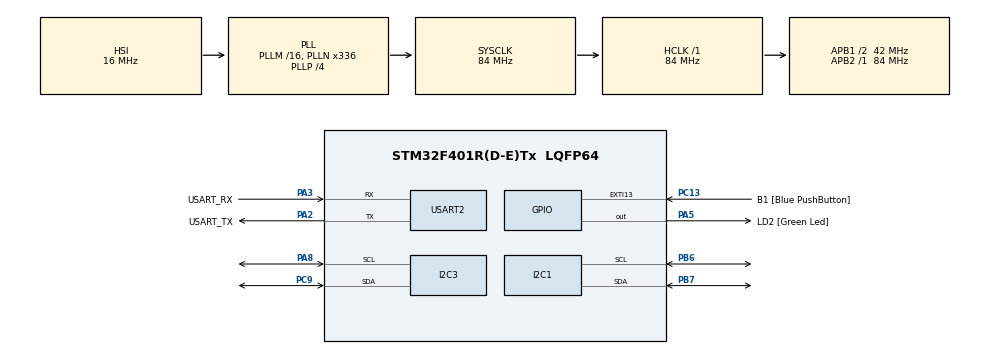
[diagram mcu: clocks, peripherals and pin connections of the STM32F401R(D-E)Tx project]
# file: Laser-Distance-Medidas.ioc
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Mcu.Family=STM32F4
Mcu.Name=STM32F401R(D-E)Tx
Mcu.Package=LQFP64
NVIC.PriorityGroup=NVIC_PRIORITYGROUP_0
PA13.GPIO_Label=TMS
PA13.Mode=Serial_Wire
PA13.Signal=SYS_JTMS-SWDIO
PA14.GPIO_Label=TCK
PA14.Mode=Serial_Wire
PA14.Signal=SYS_JTCK-SWCLK
PA2.GPIO_Label=USART_TX
PA2.GPIO_Mode=GPIO_MODE_AF_PP
PA2.GPIO_PuPd=GPIO_NOPULL
PA2.GPIO_Speed=GPIO_SPEED_FREQ_LOW
PA2.Mode=Asynchronous
PA2.Signal=USART2_TX
PA3.GPIO_Label=USART_RX
PA3.GPIO_Mode=GPIO_MODE_AF_PP
PA3.GPIO_PuPd=GPIO_NOPULL
PA3.GPIO_Speed=GPIO_SPEED_FREQ_LOW
PA3.Mode=Asynchronous
PA3.Signal=USART2_RX
PA5.GPIO_Label=LD2 [Green Led]
PA5.GPIO_Mode=GPIO_MODE_OUTPUT_PP
PA5.GPIO_PuPd=GPIO_NOPULL
PA5.GPIO_Speed=GPIO_SPEED_FREQ_LOW
PA5.Signal=GPIO_Output
PA8.Mode=I2C
PA8.Signal=I2C3_SCL
PB3.GPIO_Label=SWO
PB3.Signal=SYS_JTDO-SWO
PB6.Mode=I2C
PB6.Signal=I2C1_SCL
PB7.Mode=I2C
PB7.Signal=I2C1_SDA
PC13-ANTI_TAMP.GPIO_Label=B1 [Blue PushButton]
PC13-ANTI_TAMP.GPIO_ModeDefaultEXTI=GPIO_MODE_IT_FALLING
PC13-ANTI_TAMP.GPIO_PuPd=GPIO_NOPULL
PC13-ANTI_TAMP.Signal=GPXTI13
PC14-OSC32_IN.Mode=LSE-External-Oscillator
PC14-OSC32_IN.Signal=RCC_OSC32_IN
PC15-OSC32_OUT.Mode=LSE-External-Oscillator
PC15-OSC32_OUT.Signal=RCC_OSC32_OUT
PC9.Mode=I2C
PC9.Signal=I2C3_SDA
PH0\ -\ OSC_IN.Mode=HSE-External-Clock-Source
PH0\ -\ OSC_IN.Signal=RCC_OSC_IN
PH1\ -\ OSC_OUT.Mode=HSE-External-Clock-Source
PH1\ -\ OSC_OUT.Signal=RCC_OSC_OUT
ProjectManager.HeapSize=0x200
ProjectManager.StackSize=0x400
ProjectManager.TargetToolchain=STM32CubeIDE
RCC.48MHZClocksFreq_Value=48000000
RCC.AHBFreq_Value=84000000
RCC.APB1CLKDivider=RCC_HCLK_DIV2
RCC.APB1Freq_Value=42000000
RCC.APB1TimFreq_Value=84000000
RCC.APB2Freq_Value=84000000
RCC.APB2TimFreq_Value=84000000
RCC.CortexFreq_Value=84000000
RCC.HCLKFreq_Value=84000000
RCC.HSE_VALUE=8000000
RCC.HSI_VALUE=16000000
RCC.PLLN=336
RCC.PLLP=RCC_PLLP_DIV4
RCC.PLLQ=7
RCC.SYSCLKFreq_VALUE=84000000
RCC.SYSCLKSource=RCC_SYSCLKSOURCE_PLLCLK
RCC.VCOOutputFreq_Value=336000000
USART2.VirtualMode=VM_ASYNC
board=NUCLEO-F401RE

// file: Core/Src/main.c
/* USER CODE BEGIN Header */
/**
  ******************************************************************************
  * @file           : main.c
  * @brief          : Main program body
  ******************************************************************************
  * @attention
  *
  * Copyright (c) 2023 STMicroelectronics.
  * All rights reserved.
  *
  * This software is licensed under terms that can be found in the LICENSE file
  * in the root directory of this software component.
  * If no LICENSE file comes with this software, it is provided AS-IS.
  *
  ******************************************************************************
  */
/* USER CODE END Header */
#include "main.h"

/* USER CODE BEGIN Includes */
#include "uart.h"
#include "lidarvl53.h"
#include "ssd1306.h"
#include "ssd1306_tests.h"
/* USER CODE END Includes */

I2C_HandleTypeDef hi2c1;
I2C_HandleTypeDef hi2c3;

UART_HandleTypeDef huart2;

/* USER CODE BEGIN PV */
float milimetros;
float medicion;
float milimetrosCalib;
float valor_calibracion_100mm = 0.00;
float valor_calibracion_1900mm = 0.00;
float factorCalibracion = 1.00;
float y1 = 100.00;
float y2 = 1900.00;
float A=1.00;
float B=0.00;
int boton_presionado = 0;
float distancia;
char texto[100];
char texto2[100];
char texto3[100];
#define MAX_MUESTRAS 25
/* USER CODE END PV */

void SystemClock_Config(void);
static void MX_GPIO_Init(void);
static void MX_USART2_UART_Init(void);
static void MX_I2C1_Init(void);
static void MX_I2C3_Init(void);

int main(void)
{
  /* USER CODE BEGIN 1 */
unsigned int acumulador = 0;
unsigned int contador = 0;
unsigned int milimetros_promedio = 0;
uint8_t y;

  /* USER CODE END 1 */

  /* MCU Configuration--------------------------------------------------------*/

  /* Reset of all peripherals, Initializes the Flash interface and the Systick. */
  HAL_Init();

  /* Configure the system clock */
  SystemClock_Config();

  /* Initialize all configured peripherals */
  MX_GPIO_Init();
  MX_USART2_UART_Init();
  MX_I2C1_Init();
  MX_I2C3_Init();
  /* USER CODE BEGIN 2 */

  lidar_init(dir_s1);
  ssd1306_Init();
  /* USER CODE END 2 */

  /* Infinite loop */
  /* USER CODE BEGIN WHILE */
  while (1)
  {
	  chequeoPulsador();

	   	milimetros=lidar_lee_mm(dir_s1);
	   	milimetrosCalib = milimetros * A + B;
	   	acumulador += milimetrosCalib;
	   	contador++;

	   	// Cada 20 muestras, calcular el promedio y reiniciar el acumulador y contador
	   	        if (contador == MAX_MUESTRAS) {
	   	            milimetros_promedio = acumulador / MAX_MUESTRAS;

	   	            	   	            // Reiniciar el acumulador y el contador
	   	            acumulador = 0;
	   	            contador = 0;
	   	        }

		        if (distancia<0)  uartx_write_text(&huart2, "SENSOR NO CONECTADO\r\n");
		        else
		        {
		      	  sprintf(texto,"%u mm\r\n",milimetros_promedio);
		            uartx_write_text(&huart2, texto);

		        }

		        HAL_Delay(10);

		        ssd1306_Reset();

		        y = 0;
		        ssd1306_Fill(Black);

		        #ifdef SSD1306_INCLUDE_FONT_16x26
		    	ssd1306_SetCursor(2, y);
		    	ssd1306_WriteString(&texto, Font_16x26, White);
		    	y += 26;
		    	#endif

		    	ssd1306_UpdateScreen();

    /* USER CODE END WHILE */

  }
}

void chequeoPulsador(void){
	// Verificar si el botón B1 está presionado
	if (HAL_GPIO_ReadPin(GPIOC, GPIO_PIN_13) == GPIO_PIN_RESET) {
	// El botón está presionado, leer el valor del sensor
	    HAL_Delay(100);  // Debounce del botón
	    if (HAL_GPIO_ReadPin(GPIOC, GPIO_PIN_13) == GPIO_PIN_RESET) {
	    // Seguro que el botón sigue presionado
	       boton_presionado = 1;

	       calibracion_100mm();

	       calibracion_1900mm();

	       Factor_Calibracion(valor_calibracion_100mm,valor_calibracion_1900mm,y1,y2,&A,&B);

	       sprintf(texto2,"Factor: %u mm \n",factorCalibracion);
		                  //uartx_write_text(&huart2, texto2);
	       HAL_UART_Transmit(&huart2, (uint8_t*)texto2, strlen(texto2), HAL_MAX_DELAY);

	       ssd1306_Reset();

	       uint8_t y = 0;
	       ssd1306_Fill(Black);

		#ifdef SSD1306_INCLUDE_FONT_16x26
	       ssd1306_SetCursor(2, y);
	       ssd1306_WriteString(&texto2, Font_16x26, White);
	       y += 26;
		#endif

	       ssd1306_UpdateScreen();

	    }
	} else {
		// El botón no está presionado
		boton_presionado = 0;

	}

}
void calibracion_100mm(void) {

	unsigned int acumulador = 0;
	unsigned int contador = 0;
	unsigned int milimetros_promedio = 0;

	sprintf(texto2,"C 100 mm OK");
	//uartx_write_text(&huart2, texto2);
	HAL_UART_Transmit(&huart2, (uint8_t*)texto2, strlen(texto2), HAL_MAX_DELAY);

	ssd1306_Reset();

	uint8_t y = 0;
	ssd1306_Fill(Black);

	#ifdef SSD1306_INCLUDE_FONT_11x18
	ssd1306_SetCursor(2, y);
	ssd1306_WriteString(&texto2, Font_11x18, White);
	y += 26;
	#endif

	ssd1306_UpdateScreen();
    // Esperar hasta que el botón esté presionado
    while (HAL_GPIO_ReadPin(GPIOC, GPIO_PIN_13) == GPIO_PIN_SET) {
        // Puedes agregar un pequeño retardo aquí para evitar lecturas rápidas
        HAL_Delay(50);

        medicion=lidar_lee_mm(dir_s1);
        acumulador += medicion;
        contador++;

        // Cada 20 muestras, calcular el promedio y reiniciar el acumulador y contador
           if (contador == MAX_MUESTRAS) {
           milimetros_promedio = acumulador / MAX_MUESTRAS;

        // Reiniciar el acumulador y el contador
            acumulador = 0;
            contador = 0;
            }

           if (distancia<0)  uartx_write_text(&huart2, "SENSOR NO CONECTADO\r\n");
           else
              {
        	   sprintf(texto3,"%u mm\r\n",milimetros_promedio);
              }

	#ifdef SSD1306_INCLUDE_FONT_16x26
	   ssd1306_SetCursor(2, y);
	   ssd1306_WriteString(&texto3, Font_16x26, White);
	   //y += 26; // Puedes ajustar esta cantidad según el tamaño de fuente que estés usando
	#endif
	   ssd1306_UpdateScreen();
    }

    // Debounce del botón
    HAL_Delay(100);

    // Esperar hasta que el botón esté presionado de nuevo
    while (HAL_GPIO_ReadPin(GPIOC, GPIO_PIN_13) == GPIO_PIN_SET) {
        // Puedes agregar un pequeño retardo aquí para evitar lecturas rápidas
        HAL_Delay(50);
    }

    // Ahora el botón está seguro de que está presionado, realizar la operación del sensor
    valor_calibracion_100mm = lidar_lee_mm(dir_s1);
}

void calibracion_1900mm(void)
{
	unsigned int acumulador = 0;
	unsigned int contador = 0;
	unsigned int milimetros_promedio = 0;

	sprintf(texto2,"C 1900 mm OK");
		//uartx_write_text(&huart2, texto2);
		HAL_UART_Transmit(&huart2, (uint8_t*)texto2, strlen(texto2), HAL_MAX_DELAY);

		ssd1306_Reset();

		uint8_t y = 0;
		ssd1306_Fill(Black);

	    #ifdef SSD1306_INCLUDE_FONT_11x18
	       ssd1306_SetCursor(2, y);
	       ssd1306_WriteString(&texto2, Font_11x18, White);
	       y += 26;
		#endif

	ssd1306_UpdateScreen();

	 // Esperar hasta que el botón esté presionado
	    while (HAL_GPIO_ReadPin(GPIOC, GPIO_PIN_13) == GPIO_PIN_SET) {
	        // Puedes agregar un pequeño retardo aquí para evitar lecturas rápidas
	        HAL_Delay(50);
	        medicion=lidar_lee_mm(dir_s1);
	        acumulador += medicion;
	        contador++;

	        // Cada 20 muestras, calcular el promedio y reiniciar el acumulador y contador
	        if (contador == MAX_MUESTRAS) {
	        	milimetros_promedio = acumulador / MAX_MUESTRAS;

	          // Reiniciar el acumulador y el contador
	            acumulador = 0;
	            contador = 0;
	             }

	            if (distancia<0)  uartx_write_text(&huart2, "SENSOR NO CONECTADO\r\n");
	            else
	            {
	               sprintf(texto3,"%u mm\r\n",milimetros_promedio);
	            }

	        #ifdef SSD1306_INCLUDE_FONT_16x26
	           ssd1306_SetCursor(2, y);
	           ssd1306_WriteString(&texto3, Font_16x26, White);
	           //y += 26; // Puedes ajustar esta cantidad según el tamaño de fuente que estés usando
	        #endif
	           ssd1306_UpdateScreen();
	    }

	    // Debounce del botón
	    HAL_Delay(100);

	    // Esperar hasta que el botón esté presionado de nuevo
	    while (HAL_GPIO_ReadPin(GPIOC, GPIO_PIN_13) == GPIO_PIN_SET) {
	        // Puedes agregar un pequeño retardo aquí para evitar lecturas rápidas
	        HAL_Delay(50);
	    }

	    // Ahora el botón está seguro de que está presionado, realizar la operación del sensor
	    valor_calibracion_1900mm = lidar_lee_mm(dir_s1);
}

// Función para resolver el sistema de ecuaciones
void Factor_Calibracion(float x1, float x2, float y1, float y2, float *A, float *B) {
    // Verificamos que (x2 - x1) no sea cero para evitar divisiones por cero
    if (x2 - x1 != 0) {
        // Resolvemos las ecuaciones para A y B
        *A = (y2 - y1) / (x2 - x1);
        *B = y1 - (*A * x1);
    } else {
        printf("Error: (x2 - x1) no puede ser cero.\n");
    }
}

void SystemClock_Config(void)
{
  RCC_OscInitTypeDef RCC_OscInitStruct = {0};
  RCC_ClkInitTypeDef RCC_ClkInitStruct = {0};

  /** Configure the main internal regulator output voltage
  */
  __HAL_RCC_PWR_CLK_ENABLE();
  __HAL_PWR_VOLTAGESCALING_CONFIG(PWR_REGULATOR_VOLTAGE_SCALE2);

  /** Initializes the RCC Oscillators according to the specified parameters
  * in the RCC_OscInitTypeDef structure.
  */
  RCC_OscInitStruct.OscillatorType = RCC_OSCILLATORTYPE_HSI;
  RCC_OscInitStruct.HSIState = RCC_HSI_ON;
  RCC_OscInitStruct.HSICalibrationValue = RCC_HSICALIBRATION_DEFAULT;
  RCC_OscInitStruct.PLL.PLLState = RCC_PLL_ON;
  RCC_OscInitStruct.PLL.PLLSource = RCC_PLLSOURCE_HSI;
  RCC_OscInitStruct.PLL.PLLM = 16;
  RCC_OscInitStruct.PLL.PLLN = 336;
  RCC_OscInitStruct.PLL.PLLP = RCC_PLLP_DIV4;
  RCC_OscInitStruct.PLL.PLLQ = 7;
  if (HAL_RCC_OscConfig(&RCC_OscInitStruct) != HAL_OK)
  {
    Error_Handler();
  }

  /** Initializes the CPU, AHB and APB buses clocks
  */
  RCC_ClkInitStruct.ClockType = RCC_CLOCKTYPE_HCLK|RCC_CLOCKTYPE_SYSCLK
                              |RCC_CLOCKTYPE_PCLK1|RCC_CLOCKTYPE_PCLK2;
  RCC_ClkInitStruct.SYSCLKSource = RCC_SYSCLKSOURCE_PLLCLK;
  RCC_ClkInitStruct.AHBCLKDivider = RCC_SYSCLK_DIV1;
  RCC_ClkInitStruct.APB1CLKDivider = RCC_HCLK_DIV2;
  RCC_ClkInitStruct.APB2CLKDivider = RCC_HCLK_DIV1;

  if (HAL_RCC_ClockConfig(&RCC_ClkInitStruct, FLASH_LATENCY_2) != HAL_OK)
  {
    Error_Handler();
  }
}

static void MX_I2C1_Init(void)
{

  hi2c1.Instance = I2C1;
  hi2c1.Init.ClockSpeed = 100000;
  hi2c1.Init.DutyCycle = I2C_DUTYCYCLE_2;
  hi2c1.Init.OwnAddress1 = 0;
  hi2c1.Init.AddressingMode = I2C_ADDRESSINGMODE_7BIT;
  hi2c1.Init.DualAddressMode = I2C_DUALADDRESS_DISABLE;
  hi2c1.Init.OwnAddress2 = 0;
  hi2c1.Init.GeneralCallMode = I2C_GENERALCALL_DISABLE;
  hi2c1.Init.NoStretchMode = I2C_NOSTRETCH_DISABLE;
  if (HAL_I2C_Init(&hi2c1) != HAL_OK)
  {
    Error_Handler();
  }

}

static void MX_I2C3_Init(void)
{

  hi2c3.Instance = I2C3;
  hi2c3.Init.ClockSpeed = 100000;
  hi2c3.Init.DutyCycle = I2C_DUTYCYCLE_2;
  hi2c3.Init.OwnAddress1 = 0;
  hi2c3.Init.AddressingMode = I2C_ADDRESSINGMODE_7BIT;
  hi2c3.Init.DualAddressMode = I2C_DUALADDRESS_DISABLE;
  hi2c3.Init.OwnAddress2 = 0;
  hi2c3.Init.GeneralCallMode = I2C_GENERALCALL_DISABLE;
  hi2c3.Init.NoStretchMode = I2C_NOSTRETCH_DISABLE;
  if (HAL_I2C_Init(&hi2c3) != HAL_OK)
  {
    Error_Handler();
  }

}

static void MX_USART2_UART_Init(void)
{

  huart2.Instance = USART2;
  huart2.Init.BaudRate = 115200;
  huart2.Init.WordLength = UART_WORDLENGTH_8B;
  huart2.Init.StopBits = UART_STOPBITS_1;
  huart2.Init.Parity = UART_PARITY_NONE;
  huart2.Init.Mode = UART_MODE_TX_RX;
  huart2.Init.HwFlowCtl = UART_HWCONTROL_NONE;
  huart2.Init.OverSampling = UART_OVERSAMPLING_16;
  if (HAL_UART_Init(&huart2) != HAL_OK)
  {
    Error_Handler();
  }

}

static void MX_GPIO_Init(void)
{
  GPIO_InitTypeDef GPIO_InitStruct = {0};

  /* GPIO Ports Clock Enable */
  __HAL_RCC_GPIOC_CLK_ENABLE();
  __HAL_RCC_GPIOH_CLK_ENABLE();
  __HAL_RCC_GPIOA_CLK_ENABLE();
  __HAL_RCC_GPIOB_CLK_ENABLE();

  /*Configure GPIO pin Output Level */
  HAL_GPIO_WritePin(LD2_GPIO_Port, LD2_Pin, GPIO_PIN_RESET);

  /*Configure GPIO pin : B1_Pin */
  GPIO_InitStruct.Pin = B1_Pin;
  GPIO_InitStruct.Mode = GPIO_MODE_IT_FALLING;
  GPIO_InitStruct.Pull = GPIO_NOPULL;
  HAL_GPIO_Init(B1_GPIO_Port, &GPIO_InitStruct);

  /*Configure GPIO pin : LD2_Pin */
  GPIO_InitStruct.Pin = LD2_Pin;
  GPIO_InitStruct.Mode = GPIO_MODE_OUTPUT_PP;
  GPIO_InitStruct.Pull = GPIO_NOPULL;
  GPIO_InitStruct.Speed = GPIO_SPEED_FREQ_LOW;
  HAL_GPIO_Init(LD2_GPIO_Port, &GPIO_InitStruct);

}

void Error_Handler(void)
{
  __disable_irq();
  while (1)
  {
  }
}
